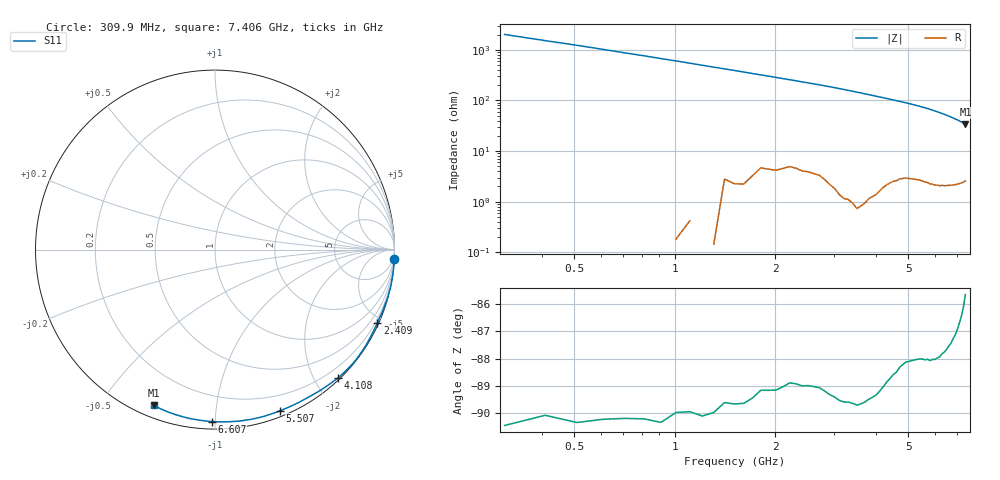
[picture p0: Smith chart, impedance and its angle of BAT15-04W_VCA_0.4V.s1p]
! Infineon Technologies  Discrete & RF Semiconductors
! BAT15-04W-E6327
! VCA = 0.4 V
! One-Port S-Parameters
# Hz  S  MA  R  50
!f  S11
!Hz  Mag  Ang
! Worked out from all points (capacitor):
!   72 points, 309.9 MHz to 7.406 GHz, reference 50 ohm
!   read as one part to ground: C = 255 fF near 309.9 MHz
!   lowest |Z| = 34.1 ohm at 7.406 GHz (marker M1)
!   S11 on the Smith chart (normalised r, x): 309.9 MHz: -0, -40; 2.409 GHz: 0.08, -4.64; 4.108 GHz: 0.03, -2.34; 5.507 GHz: 0.05, -1.48; 6.607 GHz: 0.04, -0.98; 7.406 GHz: 0.05, -0.68
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3.0985e8  1 -2.8
9.0955e8  1.001 -8.5
1.2094e9  1 -11.5
1.6092e9  0.9983 -15.6
2.10895e9  0.994 -21.0
2.30885e9  0.9927 -23.1
2.4088e9  0.9929 -24.3
2.70865e9  0.9925 -27.6
3.0085e9  0.9947 -31.2
3.2084e9  0.9961 -33.7
3.4083e9  0.9964 -36.4
3.6082e9  0.9963 -39.1
3.90805e9  0.9931 -43.4
4.10795e9  0.9898 -46.3
4.6077e9  0.9791 -53.5
4.8076e9  0.9745 -56.5
5.2074e9  0.9702 -62.8
5.4073e9  0.9687 -66.2
5.50725e9  0.9684 -68.0
5.70715e9  0.9678 -71.7
6.007e9  0.967 -77.7
6.2069e9  0.9649 -82.0
6.4068e9  0.9617 -86.5
6.6067e9  0.9579 -91.1
6.8066e9  0.9536 -95.9
7.0065e9  0.9486 -100.8
7.2064e9  0.9419 -106.0
7.4063e9  0.9316 -111.5
